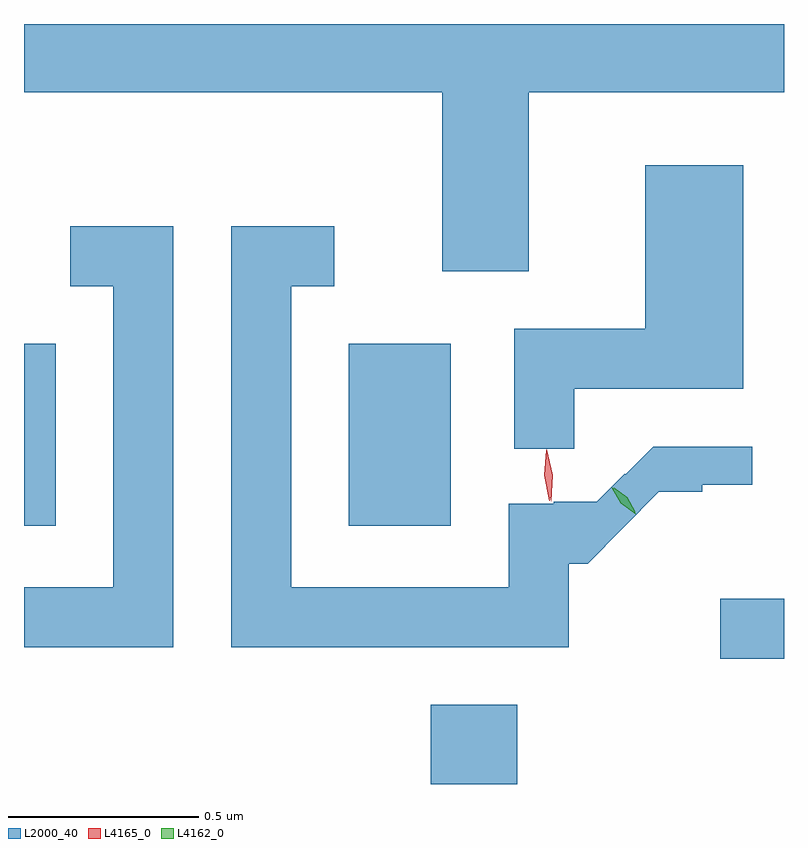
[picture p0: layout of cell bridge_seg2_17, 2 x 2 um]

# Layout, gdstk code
import gdstk
lib = gdstk.Library(unit=1e-6, precision=1e-09)
def R(c, l, rs):  # rectangles x0, y0, x1, y1
    for r in rs: c.add(gdstk.rectangle(r[:2], r[2:], *l))
def P(c, l, *ps):  # polygons
    for p in ps: c.add(gdstk.Polygon(p, *l))
L2000_40 = (2000, 40)
L4162_0 = (4162, 0)
L4165_0 = (4165, 0)

bridge_seg2_17 = lib.new_cell('bridge_seg2_17')
R(bridge_seg2_17, L2000_40, [(1732.071,1093.116,1732.299,1093.324), (1732.833,1093.446,1733.001,1093.604), (1731.001,1093.796,1731.084,1094.274), (1731.856,1093.796,1732.124,1094.274)])
P(bridge_seg2_17, L2000_40, [(1732.329,1094.936),(1733.001,1094.936),(1733.001,1095.116),(1731.001,1095.116),(1731.001,1094.936),(1732.101,1094.936),(1732.101,1094.466),(1732.329,1094.466)],
  [(1732.449,1094.156),(1732.894,1094.156),(1732.894,1094.744),(1732.636,1094.744),(1732.636,1094.314),(1732.291,1094.314),(1732.291,1093.998),(1732.449,1093.998)],
  [(1731.394,1094.584),(1731.123,1094.584),(1731.123,1094.426),(1731.236,1094.426),(1731.236,1093.634),(1731.001,1093.634),(1731.001,1093.476),(1731.394,1093.476)],
  [(1732.434,1093.696),(1732.484,1093.696),(1732.672,1093.885),(1732.786,1093.885),(1732.786,1093.903),(1732.918,1093.903),(1732.918,1094.004),(1732.657,1094.004),(1732.584,1093.931),(1732.582,1093.933),(1732.508,1093.859),(1732.395,1093.859),(1732.395,1093.854),(1732.276,1093.854),(1732.276,1093.634),(1731.704,1093.634),(1731.704,1094.426),(1731.818,1094.426),(1731.818,1094.584),(1731.546,1094.584),(1731.546,1093.476),(1732.434,1093.476)])
P(bridge_seg2_17, L4162_0, [(1732.611,1093.826),(1732.572,1093.855),(1732.548,1093.896),(1732.548,1093.897),(1732.548,1093.897),(1732.587,1093.868),(1732.611,1093.827),(1732.611,1093.826)],
  [(1732.609,1093.833),(1732.574,1093.858),(1732.553,1093.895),(1732.553,1093.896),(1732.554,1093.896),(1732.589,1093.871),(1732.61,1093.833),(1732.61,1093.833)])
P(bridge_seg2_17, L4165_0, [(1732.388,1093.86),(1732.372,1093.928),(1732.376,1093.997),(1732.376,1093.997),(1732.376,1093.997),(1732.392,1093.929),(1732.389,1093.86),(1732.389,1093.86)],
  [(1732.383,1093.862),(1732.37,1093.928),(1732.375,1093.994),(1732.376,1093.994),(1732.376,1093.994),(1732.39,1093.929),(1732.384,1093.862),(1732.384,1093.862)])

lib.write_gds('bridge_seg2_17.gds')
